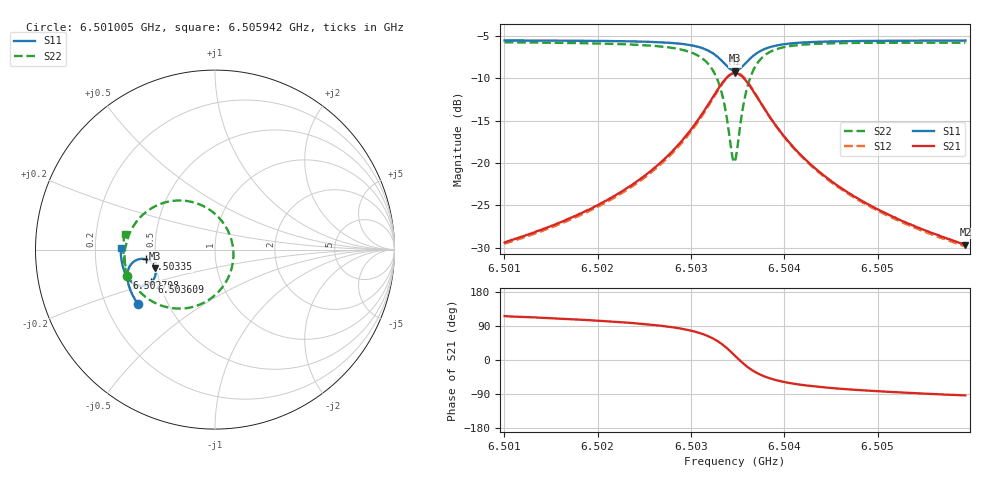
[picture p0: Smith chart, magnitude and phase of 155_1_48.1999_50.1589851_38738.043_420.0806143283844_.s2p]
#  HZ  S  RI  R  50.00
! Rohde & Schwarz Vector Network Analyzer
! Rohde-Schwarz,ZNB20-2Port,1311601062101988,3.16
! Created: UTC 3/20/2024, 11:42:58 AM
! freq[Hz]  re:S11  im:S11  re:S21  im:S21  re:S12  im:S12  re:S22  im:S22
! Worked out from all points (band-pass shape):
!   401 points, 6.501005 GHz to 6.505942 GHz, reference 50 ohm
!   highest |S21| = -9.42 dB at 6.503473 GHz (marker M1); lowest = -29.6 dB at 6.505942 GHz (marker M2)
!   |S21| within 3 dB of the highest: 6.503226 GHz to 6.503719 GHz (493.4 kHz wide, 0.00759 % of centre)
!   lowest |S11| = -9.1 dB at 6.503473 GHz (marker M3), VSWR 2.07, Z = 24.5 - j5.84 ohm
!   |S11| at or under -10 dB: nowhere
!   |S22| runs from -19.9 to -5.8 dB; largest |S21 - S12| = 0.012
!   S11 on the Smith chart (normalised r, x): 6.501005 GHz: 0.34, -0.29; 6.502708 GHz: 0.33, -0.14; 6.50335 GHz: 0.44, -0.06; 6.503609 GHz: 0.45, -0.19; 6.505942 GHz: 0.31, +0.01
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6.5010046e9  -0.4286 -0.3056  -0.0149 0.0306  -0.0131 0.0308  -0.4916 -0.1485
6.5018316e9  -0.4639 -0.2441  -0.0142 0.0487  -0.0117 0.0485  -0.5039 -0.0596
6.5023129e9  -0.4805 -0.2007  -0.0107 0.0702  -0.00756 0.0689  -0.4994 0.0106
6.5026585e9  -0.4881 -0.1616  -0.0016 0.0986  0.00204 0.0962  -0.4795 0.0822
6.5027079e9  -0.4886 -0.155  0.000885 0.1044  0.00455 0.1016  -0.4741 0.0951
6.5029424e9  -0.4851 -0.1181  0.0236 0.1412  0.0273 0.1368  -0.4265 0.1691
6.5031028e9  -0.4707 -0.0859  0.0628 0.1772  0.0658 0.1714  -0.35 0.2326
6.5032509e9  -0.433 -0.0563  0.1445 0.206  0.1453 0.1995  -0.201 0.2736
6.5033497e9  -0.3867 -0.0535  0.2358 0.1893  0.2359 0.1843  -0.0427 0.2305
6.5034361e9  -0.3442 -0.0826  0.3138 0.1146  0.3161 0.11  0.0817 0.0833
6.5034608e9  -0.3361 -0.0968  0.3271 0.083  0.3302 0.0777  0.0985 0.0232
6.5034731e9  -0.3332 -0.1045  0.3314 0.066  0.3349 0.0602  0.1023 -0.00811
6.5034978e9  -0.3303 -0.1207  0.3348 0.0314  0.3385 0.0244  0.0995 -0.0714
6.5035348e9  -0.3325 -0.1445  0.3275 -0.0186  0.3307 -0.0277  0.072 -0.1601
6.5036089e9  -0.3548 -0.1814  0.2807 -0.0946  0.2803 -0.1062  -0.0382 -0.2824
6.50372e9  -0.4002 -0.2012  0.1939 -0.1397  0.1885 -0.1495  -0.214 -0.3283
6.5038804e9  -0.4473 -0.1917  0.1104 -0.1359  0.1033 -0.1411  -0.3647 -0.2797
6.5040532e9  -0.475 -0.1703  0.065 -0.115  0.0585 -0.1173  -0.4378 -0.2131
6.5043001e9  -0.4958 -0.1404  0.0345 -0.0899  0.0296 -0.0905  -0.4818 -0.1397
6.5046703e9  -0.5116 -0.1013  0.0151 -0.066  0.0118 -0.0658  -0.5045 -0.0641
6.505127e9  -0.5209 -0.0587  0.00507 -0.0491  0.00286 -0.0484  -0.5107 0.00179
6.5059416e9  -0.5259 0.0106  -0.00201 -0.033  -0.00337 -0.0322  -0.503 0.0891
